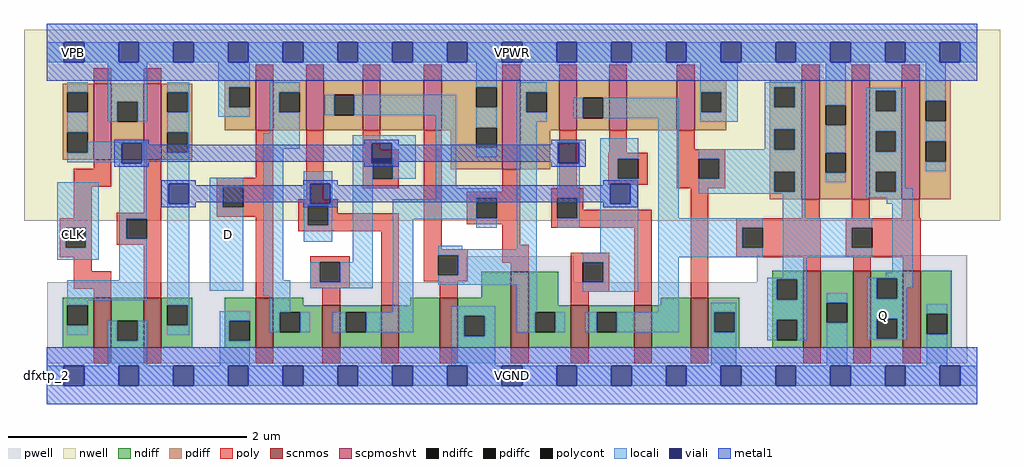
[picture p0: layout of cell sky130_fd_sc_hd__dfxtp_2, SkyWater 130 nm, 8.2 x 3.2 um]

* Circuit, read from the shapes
.subckt sky130_fd_sc_hd__dfxtp_2 CLK D VGND VNB VPB VPWR Q
XM1 VGND CLK n1 VNB sky130_fd_pr__nfet_01v8 w=0.42 l=0.15
XM2 n2 n1 VGND VNB sky130_fd_pr__nfet_01v8 w=0.42 l=0.15
XM3 n3 D VGND VNB sky130_fd_pr__nfet_01v8 w=0.42 l=0.15
XM4 n4 n1 n3 VNB sky130_fd_pr__nfet_01v8 w=0.36 l=0.15
XM5 n5 n2 n4 VNB sky130_fd_pr__nfet_01v8 w=0.36 l=0.15
XM6 VGND n6 n5 VNB sky130_fd_pr__nfet_01v8 w=0.42 l=0.15
XM7 n6 n4 VGND VNB sky130_fd_pr__nfet_01v8 w=0.64 l=0.15
XM8 n7 n2 n6 VNB sky130_fd_pr__nfet_01v8 w=0.36 l=0.15
XM9 n8 n1 n7 VNB sky130_fd_pr__nfet_01v8 w=0.36 l=0.15
XM10 VGND n9 n8 VNB sky130_fd_pr__nfet_01v8 w=0.42 l=0.15
XM11 VGND n7 n9 VNB sky130_fd_pr__nfet_01v8 w=0.65 l=0.15
XM12 Q n9 VGND VNB sky130_fd_pr__nfet_01v8 w=0.65 l=0.15 m=2
XM13 VPWR CLK n1 VPB sky130_fd_pr__pfet_01v8_hvt w=0.64 l=0.15
XM14 n2 n1 VPWR VPB sky130_fd_pr__pfet_01v8_hvt w=0.64 l=0.15
XM15 n3 D VPWR VPB sky130_fd_pr__pfet_01v8_hvt w=0.42 l=0.15
XM16 n4 n2 n3 VPB sky130_fd_pr__pfet_01v8_hvt w=0.42 l=0.15
XM17 n10 n1 n4 VPB sky130_fd_pr__pfet_01v8_hvt w=0.42 l=0.15
XM18 VPWR n6 n10 VPB sky130_fd_pr__pfet_01v8_hvt w=0.42 l=0.15
XM19 n6 n4 VPWR VPB sky130_fd_pr__pfet_01v8_hvt w=0.75 l=0.15
XM20 n7 n1 n6 VPB sky130_fd_pr__pfet_01v8_hvt w=0.42 l=0.15
XM21 n11 n2 n7 VPB sky130_fd_pr__pfet_01v8_hvt w=0.42 l=0.15
XM22 VPWR n9 n11 VPB sky130_fd_pr__pfet_01v8_hvt w=0.42 l=0.15
XM23 VPWR n7 n9 VPB sky130_fd_pr__pfet_01v8_hvt w=1 l=0.15
XM24 Q n9 VPWR VPB sky130_fd_pr__pfet_01v8_hvt w=1 l=0.15 m=2
.ends

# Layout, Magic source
magic
tech sky130A
magscale 1 2
<< nwell >>
rect -38 261 1602 582
<< pwell >>
rect 704 157 886 201
rect 1193 157 1547 203
rect 1 21 1547 157
rect 29 -17 63 21
<< scnmos >>
rect 79 47 109 131
rect 163 47 193 131
rect 351 47 381 131
rect 463 47 493 119
rect 562 47 592 119
rect 661 47 691 131
rect 780 47 810 175
rect 881 47 911 119
rect 987 47 1017 119
rect 1082 47 1112 131
rect 1271 47 1301 177
rect 1355 47 1385 177
rect 1439 47 1469 177
<< scpmoshvt >>
rect 79 363 109 491
rect 163 363 193 491
rect 351 413 381 497
rect 436 413 466 497
rect 531 413 561 497
rect 634 413 664 497
rect 766 347 796 497
rect 861 413 891 497
rect 945 413 975 497
rect 1059 413 1089 497
rect 1269 297 1299 497
rect 1353 297 1383 497
rect 1437 297 1467 497
<< ndiff >>
rect 27 119 79 131
rect 27 85 35 119
rect 69 85 79 119
rect 27 47 79 85
rect 109 93 163 131
rect 109 59 119 93
rect 153 59 163 93
rect 109 47 163 59
rect 193 119 245 131
rect 193 85 203 119
rect 237 85 245 119
rect 193 47 245 85
rect 299 93 351 131
rect 299 59 307 93
rect 341 59 351 93
rect 299 47 351 59
rect 381 119 431 131
rect 730 131 780 175
rect 611 119 661 131
rect 381 107 463 119
rect 381 73 392 107
rect 426 73 463 107
rect 381 47 463 73
rect 493 107 562 119
rect 493 73 503 107
rect 537 73 562 107
rect 493 47 562 73
rect 592 47 661 119
rect 691 101 780 131
rect 691 67 702 101
rect 736 67 780 101
rect 691 47 780 67
rect 810 119 860 175
rect 1219 162 1271 177
rect 1032 119 1082 131
rect 810 107 881 119
rect 810 73 821 107
rect 855 73 881 107
rect 810 47 881 73
rect 911 107 987 119
rect 911 73 924 107
rect 958 73 987 107
rect 911 47 987 73
rect 1017 47 1082 119
rect 1112 107 1164 131
rect 1112 73 1122 107
rect 1156 73 1164 107
rect 1112 47 1164 73
rect 1219 128 1227 162
rect 1261 128 1271 162
rect 1219 94 1271 128
rect 1219 60 1227 94
rect 1261 60 1271 94
rect 1219 47 1271 60
rect 1301 123 1355 177
rect 1301 89 1311 123
rect 1345 89 1355 123
rect 1301 47 1355 89
rect 1385 164 1439 177
rect 1385 130 1395 164
rect 1429 130 1439 164
rect 1385 96 1439 130
rect 1385 62 1395 96
rect 1429 62 1439 96
rect 1385 47 1439 62
rect 1469 104 1521 177
rect 1469 70 1479 104
rect 1513 70 1521 104
rect 1469 47 1521 70
<< pdiff >>
rect 27 477 79 491
rect 27 443 35 477
rect 69 443 79 477
rect 27 409 79 443
rect 27 375 35 409
rect 69 375 79 409
rect 27 363 79 375
rect 109 461 163 491
rect 109 427 119 461
rect 153 427 163 461
rect 109 363 163 427
rect 193 477 245 491
rect 193 443 203 477
rect 237 443 245 477
rect 193 409 245 443
rect 299 485 351 497
rect 299 451 307 485
rect 341 451 351 485
rect 299 413 351 451
rect 381 477 436 497
rect 381 443 391 477
rect 425 443 436 477
rect 381 413 436 443
rect 466 472 531 497
rect 466 438 483 472
rect 517 438 531 472
rect 466 413 531 438
rect 561 413 634 497
rect 664 485 766 497
rect 664 451 722 485
rect 756 451 766 485
rect 664 417 766 451
rect 664 413 722 417
rect 193 375 203 409
rect 237 375 245 409
rect 193 363 245 375
rect 679 383 722 413
rect 756 383 766 417
rect 679 347 766 383
rect 796 477 861 497
rect 796 443 806 477
rect 840 443 861 477
rect 796 413 861 443
rect 891 467 945 497
rect 891 433 901 467
rect 935 433 945 467
rect 891 413 945 433
rect 975 413 1059 497
rect 1089 477 1142 497
rect 1089 443 1100 477
rect 1134 443 1142 477
rect 1089 413 1142 443
rect 1215 485 1269 497
rect 1215 451 1223 485
rect 1257 451 1269 485
rect 1215 414 1269 451
rect 796 347 846 413
rect 1215 380 1223 414
rect 1257 380 1269 414
rect 1215 343 1269 380
rect 1215 309 1223 343
rect 1257 309 1269 343
rect 1215 297 1269 309
rect 1299 455 1353 497
rect 1299 421 1309 455
rect 1343 421 1353 455
rect 1299 375 1353 421
rect 1299 341 1309 375
rect 1343 341 1353 375
rect 1299 297 1353 341
rect 1383 479 1437 497
rect 1383 445 1393 479
rect 1427 445 1437 479
rect 1383 411 1437 445
rect 1383 377 1393 411
rect 1427 377 1437 411
rect 1383 343 1437 377
rect 1383 309 1393 343
rect 1427 309 1437 343
rect 1383 297 1437 309
rect 1467 462 1519 497
rect 1467 428 1477 462
rect 1511 428 1519 462
rect 1467 394 1519 428
rect 1467 360 1477 394
rect 1511 360 1519 394
rect 1467 297 1519 360
<< ndiffc >>
rect 35 85 69 119
rect 119 59 153 93
rect 203 85 237 119
rect 307 59 341 93
rect 392 73 426 107
rect 503 73 537 107
rect 702 67 736 101
rect 821 73 855 107
rect 924 73 958 107
rect 1122 73 1156 107
rect 1227 128 1261 162
rect 1227 60 1261 94
rect 1311 89 1345 123
rect 1395 130 1429 164
rect 1395 62 1429 96
rect 1479 70 1513 104
<< pdiffc >>
rect 35 443 69 477
rect 35 375 69 409
rect 119 427 153 461
rect 203 443 237 477
rect 307 451 341 485
rect 391 443 425 477
rect 483 438 517 472
rect 722 451 756 485
rect 203 375 237 409
rect 722 383 756 417
rect 806 443 840 477
rect 901 433 935 467
rect 1100 443 1134 477
rect 1223 451 1257 485
rect 1223 380 1257 414
rect 1223 309 1257 343
rect 1309 421 1343 455
rect 1309 341 1343 375
rect 1393 445 1427 479
rect 1393 377 1427 411
rect 1393 309 1427 343
rect 1477 428 1511 462
rect 1477 360 1511 394
<< poly >>
rect 79 491 109 517
rect 163 491 193 517
rect 351 497 381 523
rect 436 497 466 523
rect 531 497 561 523
rect 634 497 664 523
rect 766 497 796 523
rect 861 497 891 523
rect 945 497 975 523
rect 1059 497 1089 523
rect 1269 497 1299 523
rect 1353 497 1383 523
rect 1437 497 1467 523
rect 79 348 109 363
rect 46 318 109 348
rect 46 265 76 318
rect 163 274 193 363
rect 351 333 381 413
rect 22 249 76 265
rect 22 215 32 249
rect 66 215 76 249
rect 118 264 193 274
rect 286 317 381 333
rect 286 283 296 317
rect 330 283 381 317
rect 436 297 466 413
rect 531 381 561 413
rect 531 365 592 381
rect 531 331 548 365
rect 582 331 592 365
rect 531 315 592 331
rect 286 267 381 283
rect 118 230 134 264
rect 168 230 193 264
rect 118 220 193 230
rect 22 199 76 215
rect 46 176 76 199
rect 46 146 109 176
rect 79 131 109 146
rect 163 131 193 220
rect 351 131 381 267
rect 423 287 489 297
rect 423 253 439 287
rect 473 273 489 287
rect 473 253 592 273
rect 423 243 592 253
rect 443 191 509 201
rect 443 157 459 191
rect 493 157 509 191
rect 443 147 509 157
rect 463 119 493 147
rect 562 119 592 243
rect 634 213 664 413
rect 766 309 796 347
rect 861 315 891 413
rect 945 375 975 413
rect 1059 381 1089 413
rect 944 365 1010 375
rect 944 331 960 365
rect 994 331 1010 365
rect 944 321 1010 331
rect 1059 365 1140 381
rect 1059 331 1096 365
rect 1130 331 1140 365
rect 1059 315 1140 331
rect 706 299 796 309
rect 706 265 722 299
rect 756 265 796 299
rect 706 255 796 265
rect 766 220 796 255
rect 848 299 902 315
rect 848 265 858 299
rect 892 279 902 299
rect 892 265 1017 279
rect 848 249 1017 265
rect 634 203 708 213
rect 634 169 658 203
rect 692 169 708 203
rect 766 190 810 220
rect 780 175 810 190
rect 881 191 945 207
rect 634 159 708 169
rect 661 131 691 159
rect 881 157 901 191
rect 935 157 945 191
rect 881 141 945 157
rect 881 119 911 141
rect 987 119 1017 249
rect 1082 131 1112 315
rect 1269 265 1299 297
rect 1353 265 1383 297
rect 1437 265 1467 297
rect 1159 249 1301 265
rect 1159 215 1169 249
rect 1203 215 1301 249
rect 1159 199 1301 215
rect 1343 249 1469 265
rect 1343 215 1353 249
rect 1387 215 1469 249
rect 1343 199 1469 215
rect 1271 177 1301 199
rect 1355 177 1385 199
rect 1439 177 1469 199
rect 79 21 109 47
rect 163 21 193 47
rect 351 21 381 47
rect 463 21 493 47
rect 562 21 592 47
rect 661 21 691 47
rect 780 21 810 47
rect 881 21 911 47
rect 987 21 1017 47
rect 1082 21 1112 47
rect 1271 21 1301 47
rect 1355 21 1385 47
rect 1439 21 1469 47
<< polycont >>
rect 32 215 66 249
rect 296 283 330 317
rect 548 331 582 365
rect 134 230 168 264
rect 439 253 473 287
rect 459 157 493 191
rect 960 331 994 365
rect 1096 331 1130 365
rect 722 265 756 299
rect 858 265 892 299
rect 658 169 692 203
rect 901 157 935 191
rect 1169 215 1203 249
rect 1353 215 1387 249
<< locali >>
rect 0 527 29 561
rect 63 527 121 561
rect 155 527 213 561
rect 247 527 305 561
rect 339 527 397 561
rect 431 527 489 561
rect 523 527 581 561
rect 615 527 673 561
rect 707 527 765 561
rect 799 527 857 561
rect 891 527 949 561
rect 983 527 1041 561
rect 1075 527 1133 561
rect 1167 527 1225 561
rect 1259 527 1317 561
rect 1351 527 1409 561
rect 1443 527 1501 561
rect 1535 527 1564 561
rect 35 477 69 493
rect 35 409 69 443
rect 103 461 169 527
rect 103 427 119 461
rect 153 427 169 461
rect 203 477 240 493
rect 237 443 240 477
rect 203 409 240 443
rect 288 485 341 527
rect 288 451 307 485
rect 288 435 341 451
rect 375 477 425 493
rect 375 443 391 477
rect 722 485 756 527
rect 69 391 168 393
rect 69 375 126 391
rect 35 359 126 375
rect 122 357 126 359
rect 160 357 168 391
rect 18 249 88 325
rect 18 215 32 249
rect 66 215 88 249
rect 18 195 88 215
rect 122 264 168 357
rect 122 230 134 264
rect 122 161 168 230
rect 35 127 168 161
rect 237 375 240 409
rect 375 408 425 443
rect 467 438 483 472
rect 517 438 688 472
rect 203 323 240 375
rect 364 382 425 408
rect 514 391 620 404
rect 203 289 205 323
rect 239 289 240 323
rect 35 119 69 127
rect 203 119 240 289
rect 274 317 330 333
rect 274 283 296 317
rect 274 143 330 283
rect 364 161 398 382
rect 514 357 546 391
rect 580 365 620 391
rect 432 323 480 344
rect 432 289 443 323
rect 477 289 480 323
rect 432 287 480 289
rect 432 253 439 287
rect 473 253 480 287
rect 432 225 480 253
rect 514 191 548 357
rect 582 331 620 365
rect 654 315 688 438
rect 722 417 756 451
rect 722 367 756 383
rect 790 477 840 493
rect 790 443 806 477
rect 1098 477 1161 527
rect 790 427 840 443
rect 885 433 901 467
rect 935 433 1062 467
rect 654 299 756 315
rect 654 297 722 299
rect 364 135 409 161
rect 443 157 459 191
rect 493 157 548 191
rect 443 147 548 157
rect 582 265 722 297
rect 582 263 756 265
rect 35 69 69 85
rect 103 59 119 93
rect 153 59 169 93
rect 237 85 240 119
rect 203 69 240 85
rect 291 93 341 109
rect 103 17 169 59
rect 291 59 307 93
rect 375 107 409 135
rect 582 107 616 263
rect 722 249 756 263
rect 658 213 698 219
rect 790 213 824 427
rect 858 391 896 393
rect 858 357 860 391
rect 894 357 896 391
rect 858 299 896 357
rect 892 265 896 299
rect 858 249 896 265
rect 930 365 994 399
rect 930 331 960 365
rect 930 323 994 331
rect 930 289 947 323
rect 981 289 994 323
rect 658 203 824 213
rect 930 207 994 289
rect 692 169 824 203
rect 658 153 824 169
rect 375 73 392 107
rect 426 73 442 107
rect 481 73 503 107
rect 537 73 616 107
rect 680 101 754 117
rect 291 17 341 59
rect 680 67 702 101
rect 736 67 754 101
rect 790 107 824 153
rect 901 191 994 207
rect 935 157 994 191
rect 901 141 994 157
rect 1028 265 1062 433
rect 1098 443 1100 477
rect 1134 443 1161 477
rect 1098 427 1161 443
rect 1207 485 1275 493
rect 1207 451 1223 485
rect 1257 451 1275 485
rect 1207 414 1275 451
rect 1207 381 1223 414
rect 1096 380 1223 381
rect 1257 380 1275 414
rect 1096 365 1275 380
rect 1130 343 1275 365
rect 1130 331 1223 343
rect 1096 309 1223 331
rect 1257 309 1275 343
rect 1309 455 1343 527
rect 1309 375 1343 421
rect 1309 325 1343 341
rect 1377 479 1443 484
rect 1377 445 1393 479
rect 1427 445 1443 479
rect 1377 411 1443 445
rect 1377 377 1393 411
rect 1427 377 1443 411
rect 1377 343 1443 377
rect 1477 462 1511 527
rect 1477 394 1511 428
rect 1477 344 1511 360
rect 1096 306 1275 309
rect 1237 265 1275 306
rect 1377 309 1393 343
rect 1427 315 1443 343
rect 1427 309 1455 315
rect 1377 299 1455 309
rect 1412 289 1455 299
rect 1028 249 1203 265
rect 1028 215 1169 249
rect 1028 199 1203 215
rect 1237 249 1387 265
rect 1237 215 1353 249
rect 1237 199 1387 215
rect 1028 107 1062 199
rect 1237 165 1277 199
rect 1421 173 1455 289
rect 1410 165 1455 173
rect 1211 162 1277 165
rect 1211 128 1227 162
rect 1261 128 1277 162
rect 1379 164 1455 165
rect 790 73 821 107
rect 855 73 871 107
rect 905 73 924 107
rect 958 73 1062 107
rect 1117 107 1159 123
rect 1117 73 1122 107
rect 1156 73 1159 107
rect 680 17 754 67
rect 1117 17 1159 73
rect 1211 94 1277 128
rect 1211 60 1227 94
rect 1261 60 1277 94
rect 1311 123 1345 139
rect 1311 17 1345 89
rect 1379 130 1395 164
rect 1429 148 1455 164
rect 1429 130 1445 148
rect 1379 96 1445 130
rect 1379 62 1395 96
rect 1429 62 1445 96
rect 1379 61 1445 62
rect 1479 104 1513 120
rect 1479 17 1513 70
rect 0 -17 29 17
rect 63 -17 121 17
rect 155 -17 213 17
rect 247 -17 305 17
rect 339 -17 397 17
rect 431 -17 489 17
rect 523 -17 581 17
rect 615 -17 673 17
rect 707 -17 765 17
rect 799 -17 857 17
rect 891 -17 949 17
rect 983 -17 1041 17
rect 1075 -17 1133 17
rect 1167 -17 1225 17
rect 1259 -17 1317 17
rect 1351 -17 1409 17
rect 1443 -17 1501 17
rect 1535 -17 1564 17
<< viali >>
rect 29 527 63 561
rect 121 527 155 561
rect 213 527 247 561
rect 305 527 339 561
rect 397 527 431 561
rect 489 527 523 561
rect 581 527 615 561
rect 673 527 707 561
rect 765 527 799 561
rect 857 527 891 561
rect 949 527 983 561
rect 1041 527 1075 561
rect 1133 527 1167 561
rect 1225 527 1259 561
rect 1317 527 1351 561
rect 1409 527 1443 561
rect 1501 527 1535 561
rect 126 357 160 391
rect 205 289 239 323
rect 546 365 580 391
rect 546 357 548 365
rect 548 357 580 365
rect 443 289 477 323
rect 860 357 894 391
rect 947 289 981 323
rect 29 -17 63 17
rect 121 -17 155 17
rect 213 -17 247 17
rect 305 -17 339 17
rect 397 -17 431 17
rect 489 -17 523 17
rect 581 -17 615 17
rect 673 -17 707 17
rect 765 -17 799 17
rect 857 -17 891 17
rect 949 -17 983 17
rect 1041 -17 1075 17
rect 1133 -17 1167 17
rect 1225 -17 1259 17
rect 1317 -17 1351 17
rect 1409 -17 1443 17
rect 1501 -17 1535 17
<< metal1 >>
rect 0 561 1564 592
rect 0 527 29 561
rect 63 527 121 561
rect 155 527 213 561
rect 247 527 305 561
rect 339 527 397 561
rect 431 527 489 561
rect 523 527 581 561
rect 615 527 673 561
rect 707 527 765 561
rect 799 527 857 561
rect 891 527 949 561
rect 983 527 1041 561
rect 1075 527 1133 561
rect 1167 527 1225 561
rect 1259 527 1317 561
rect 1351 527 1409 561
rect 1443 527 1501 561
rect 1535 527 1564 561
rect 0 496 1564 527
rect 114 391 172 397
rect 114 357 126 391
rect 160 388 172 391
rect 534 391 592 397
rect 534 388 546 391
rect 160 360 546 388
rect 160 357 172 360
rect 114 351 172 357
rect 534 357 546 360
rect 580 388 592 391
rect 848 391 906 397
rect 848 388 860 391
rect 580 360 860 388
rect 580 357 592 360
rect 534 351 592 357
rect 848 357 860 360
rect 894 357 906 391
rect 848 351 906 357
rect 193 323 251 329
rect 193 289 205 323
rect 239 320 251 323
rect 431 323 489 329
rect 431 320 443 323
rect 239 292 443 320
rect 239 289 251 292
rect 193 283 251 289
rect 431 289 443 292
rect 477 320 489 323
rect 935 323 993 329
rect 935 320 947 323
rect 477 292 947 320
rect 477 289 489 292
rect 431 283 489 289
rect 935 289 947 292
rect 981 289 993 323
rect 935 283 993 289
rect 0 17 1564 48
rect 0 -17 29 17
rect 63 -17 121 17
rect 155 -17 213 17
rect 247 -17 305 17
rect 339 -17 397 17
rect 431 -17 489 17
rect 523 -17 581 17
rect 615 -17 673 17
rect 707 -17 765 17
rect 799 -17 857 17
rect 891 -17 949 17
rect 983 -17 1041 17
rect 1075 -17 1133 17
rect 1167 -17 1225 17
rect 1259 -17 1317 17
rect 1351 -17 1409 17
rect 1443 -17 1501 17
rect 1535 -17 1564 17
rect 0 -48 1564 -17
<< labels >>
rlabel comment s 0 0 0 0 4 dfxtp_2
flabel nwell s 29 527 63 561 0 FreeSans 200 0 0 0 VPB
port 5 nsew power bidirectional
flabel nwell s 46 544 46 544 0 FreeSans 200 0 0 0 VPB
flabel pwell s 29 -17 63 17 0 FreeSans 200 0 0 0 VNB
port 4 nsew ground bidirectional
flabel pwell s 46 0 46 0 0 FreeSans 200 0 0 0 VNB
flabel locali s 1390 85 1424 119 0 FreeSans 400 0 0 0 Q
port 7 nsew signal output
flabel locali s 29 221 63 255 0 FreeSans 400 0 0 0 CLK
port 1 nsew clock input
flabel locali s 289 221 323 255 0 FreeSans 200 0 0 0 D
port 2 nsew signal input
flabel metal1 s 29 527 63 561 0 FreeSans 200 0 0 0 VPWR
port 6 nsew power bidirectional abutment
flabel metal1 s 29 -17 63 17 0 FreeSans 200 0 0 0 VGND
port 3 nsew ground bidirectional abutment
rlabel metal1 s 0 -48 1564 48 1 VGND
port 3 nsew ground bidirectional abutment
rlabel metal1 s 0 496 1564 592 1 VPWR
port 6 nsew power bidirectional abutment
<< properties >>
string FIXED_BBOX 0 0 1564 544
string GDS_END 2618586
string GDS_FILE $PDKPATH/libs.ref/sky130_fd_sc_hd/gds/sky130_fd_sc_hd.gds
string GDS_START 2606080
string LEFclass CORE
string LEFsite unithd
string LEFsymmetry X Y R90
<< end >>
